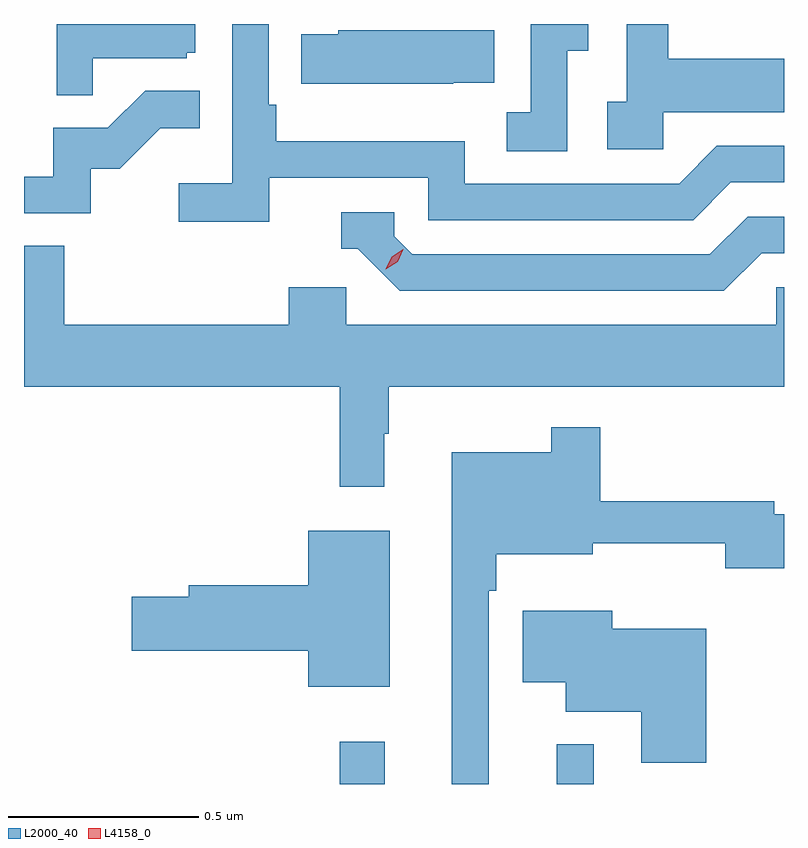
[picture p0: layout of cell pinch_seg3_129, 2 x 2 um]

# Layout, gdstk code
import gdstk
lib = gdstk.Library(unit=1e-6, precision=1e-09)
def R(c, l, rs):  # rectangles x0, y0, x1, y1
    for r in rs: c.add(gdstk.rectangle(r[:2], r[2:], *l))
def P(c, l, *ps):  # polygons
    for p in ps: c.add(gdstk.Polygon(p, *l))
L2000_40 = (2000, 40)
L4158_0 = (4158, 0)

pinch_seg3_129 = lib.new_cell('pinch_seg3_129')
R(pinch_seg3_129, L2000_40, [(1127.143,707.863,1127.261,707.974), (1127.714,707.863,1127.811,707.968)])
P(pinch_seg3_129, L2000_40, [(1127.742,709.792),(1127.797,709.792),(1127.797,709.863),(1127.646,709.863),(1127.646,709.631),(1127.583,709.631),(1127.583,709.528),(1127.742,709.528)],
  [(1126.493,709.773),(1126.74,709.773),(1126.74,709.788),(1126.762,709.788),(1126.762,709.863),(1126.398,709.863),(1126.398,709.675),(1126.493,709.675)],
  [(1127.994,709.631),(1128.312,709.631),(1128.312,709.771),(1128.007,709.771),(1128.007,709.863),(1127.898,709.863),(1127.898,709.658),(1127.847,709.658),(1127.847,709.533),(1127.994,709.533)],
  [(1126.958,709.458),(1127.376,709.458),(1127.376,709.347),(1128.073,709.347),(1128.172,709.446),(1128.312,709.446),(1128.312,709.542),(1128.135,709.542),(1128.036,709.443),(1127.472,709.443),(1127.472,709.555),(1126.976,709.555),(1126.976,709.651),(1126.956,709.651),(1126.956,709.863),(1126.86,709.863),(1126.86,709.444),(1126.719,709.444),(1126.719,709.342),(1126.958,709.342)],
  [(1127.441,709.709),(1127.549,709.709),(1127.549,709.846),(1127.139,709.846),(1127.139,709.836),(1127.041,709.836),(1127.041,709.706),(1127.441,709.706)],
  [(1126.488,709.482),(1126.564,709.482),(1126.671,709.589),(1126.775,709.589),(1126.775,709.688),(1126.631,709.688),(1126.533,709.59),(1126.389,709.59),(1126.389,709.461),(1126.312,709.461),(1126.312,709.365),(1126.488,709.365)],
  [(1128.253,709.26),(1128.312,709.26),(1128.312,709.356),(1128.216,709.356),(1128.117,709.257),(1127.334,709.257),(1127.286,709.305),(1127.286,709.368),(1127.147,709.368),(1127.147,709.272),(1127.19,709.272),(1127.301,709.161),(1128.154,709.161)],
  [(1127.26,708.785),(1127.272,708.785),(1127.272,708.908),(1128.312,708.908),(1128.312,709.17),(1128.291,709.17),(1128.291,709.072),(1127.16,709.072),(1127.16,709.17),(1127.009,709.17),(1127.009,709.072),(1126.418,709.072),(1126.418,709.28),(1126.312,709.28),(1126.312,708.908),(1127.143,708.908),(1127.143,708.645),(1127.26,708.645)],
  [(1127.535,708.371),(1127.555,708.371),(1127.555,708.467),(1127.809,708.467),(1127.809,708.496),(1128.158,708.496),(1128.158,708.431),(1128.312,708.431),(1128.312,708.573),(1128.286,708.573),(1128.286,708.607),(1127.828,708.607),(1127.828,708.802),(1127.7,708.802),(1127.7,708.736),(1127.438,708.736),(1127.438,707.863),(1127.535,707.863)],
  [(1127.275,708.529),(1127.06,708.529),(1127.06,708.386),(1126.745,708.386),(1126.745,708.356),(1126.596,708.356),(1126.596,708.214),(1127.06,708.214),(1127.06,708.119),(1127.275,708.119)],
  [(1128.107,708.271),(1127.86,708.271),(1127.86,708.319),(1127.624,708.319),(1127.624,708.131),(1127.738,708.131),(1127.738,708.053),(1127.936,708.053),(1127.936,707.919),(1128.107,707.919)])
P(pinch_seg3_129, L4158_0, [(1127.264,709.218),(1127.264,709.218),(1127.28,709.251),(1127.31,709.27),(1127.31,709.27),(1127.31,709.27),(1127.295,709.238),(1127.264,709.218)])

lib.write_gds('pinch_seg3_129.gds')
